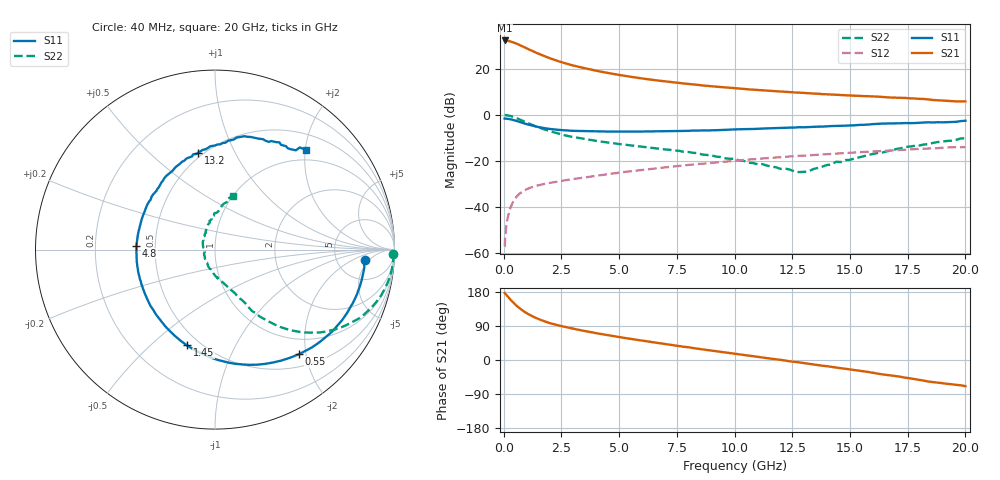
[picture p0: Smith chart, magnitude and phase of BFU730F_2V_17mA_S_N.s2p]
! Filename:  P:\Prog\Test\Noise\ATS_data\Testdata_Net\BFU730\BFU730_2W_B1_2V17mA_D.s2p
! Date/Time: Fri 29/Apr/2011 14:14:21
! BFU730_2W_B1_2V17mA
! bias mode 1: Vout= 2.0003 V, Iout=16.9950 mA, Vin= 0.8121 V, Iin= 0.0580 mA
! Date/time Thu Mar 17 11:30:19 2011
! Device data file deembeded for feedlines and parallel
! Original file: \BFU730\BFU730_2W_B1_2V17mA_R.s2p
! Feed-files: PR003V01_101208_Feed1.s2p, PR003V01_101208_Feed2.s2p
! Parallel-file: PR003V01_101208_Par.s2p
# MHz S MA R 50
!  Freq-MHz  S11-mag  S11-arg  S21-mag  S21-arg  S12-mag  S12-arg  S22-mag  S22-arg
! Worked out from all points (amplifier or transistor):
!   167 points, 40 MHz to 20 GHz, reference 50 ohm
!   highest |S21| = 32.5 dB at 50 MHz (marker M1)
!   |S21| within 3 dB of that: start of sweep to 903.8 MHz
!   unconditionally stable (mu >= 1): 4.697 GHz to 15.74 GHz
!   at 550 MHz: K = 0.18, MSG = 33.4 dB, |S12| = -35.7 dB
!   at 4.2 GHz: K = 0.96, MSG = 22.5 dB, |S12| = -26.1 dB
!   at 20 GHz: K = 0.87, MSG = 10.0 dB, |S12| = -13.9 dB
!   lowest NFmin = 0.72 dB at 400 MHz
!   S11 on the Smith chart (normalised r, x): 40 MHz: 10, -4; 550 MHz: 0.71, -1.88; 1.45 GHz: 0.43, -0.66; 4.8 GHz: 0.39, +0.02; 13.2 GHz: 0.47, +0.72; 20 GHz: 0.79, +2.02
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40  0.8387 -3.9  42.15 177.2  0.001396 85.3  0.9925 -1.3
50  0.8374 -5.5  42.24 176.0  0.001396 96.5  0.9925 -2.1
70  0.8381 -6.8  41.9 175.1  0.002344 86.9  0.9948 -3.3
180  0.8294 -17.5  41.32 167.2  0.005991 81.9  0.9828 -9.8
300  0.8099 -29.1  40.03 158.9  0.009803 76.5  0.955 -16.4
420  0.781 -40.1  38.41 151.2  0.01324 71.2  0.9147 -22.4
550  0.7478 -51.1  36.18 143.7  0.01642 66.3  0.8613 -28.1
750  0.6947 -66.5  32.57 133.7  0.02048 59.9  0.78 -35.5
1000  0.6353 -82.9  28.38 123.4  0.02433 54.1  0.6863 -42.3
1200  0.5947 -94.2  25.46 116.7  0.02671 51.0  0.6219 -46.4
1450  0.5556 -106.3  22.38 109.5  0.02909 48.2  0.5537 -50.4
1800  0.5157 -120.3  18.94 101.4  0.03196 45.8  0.4812 -54.3
2250  0.4832 -134.6  15.64 93.1  0.03522 44.3  0.4124 -58.0
2800  0.4601 -148.5  12.85 85.3  0.03901 43.3  0.3486 -60.4
3400  0.4471 -160.7  10.8 77.8  0.04322 42.8  0.3083 -62.8
4800  0.4381 177.1  7.799 62.5  0.05409 41.0  0.242 -68.4
6800  0.4447 153.8  5.569 44.0  0.07076 36.2  0.1836 -77.7
10200  0.4921 123.4  3.792 14.9  0.1034 23.5  0.1031 -109.9
13200  0.5481 99.9  2.977 -9.8  0.1328 8.4  0.05898 173.9
13400  0.5528 98.6  2.952 -11.6  0.1355 7.2  0.06631 169.7
16800  0.6589 72.2  2.408 -40.9  0.1691 -12.0  0.1697 96.4
20000  0.7527 47.5  1.99 -69.0  0.2012 -33.1  0.3127 71.6
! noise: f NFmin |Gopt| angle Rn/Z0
400  0.7205  0.1643  4.78  0.1143
850  0.7288  0.1481  15.64  0.1138
1500  0.7428  0.1302  31.81  0.1121
2150  0.7596  0.1167  48.38  0.1095
3100  0.7888  0.1018  73.9  0.1047
4400  0.8378  0.09265  114  0.0977
6400  0.9338  0.1266  173.2  0.0908
8800  1.082  0.222  212.2  0.0985
1.14e+04  1.283  0.3273  238.9  0.1422
1.4e+04  1.526  0.4123  266.9  0.2399
